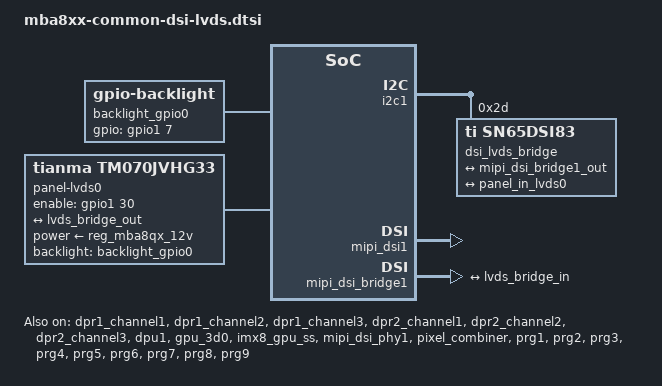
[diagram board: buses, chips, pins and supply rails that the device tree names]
/*
 * Copyright 2018 TQ Systems GmbH
 *
 * This program is free software; you can redistribute it and/or
 * modify it under the terms of the GNU General Public License
 * as published by the Free Software Foundation; either version 2
 * of the License, or (at your option) any later version.
 *
 * This program is distributed in the hope that it will be useful,
 * but WITHOUT ANY WARRANTY; without even the implied warranty of
 * MERCHANTABILITY or FITNESS FOR A PARTICULAR PURPOSE.  See the
 * GNU General Public License for more details.
 */

/ {
	backlight_lvds0: backlight-lvds0 {
		compatible = "pwm-backlight";
		pinctrl-names = "default";
		pinctrl-0 = <&pinctrl_pwmbl>;
		/* TODO: not enable yet */
		pwms = <&pwm_mipi_lvds0 0 5000000>;
		brightness-levels = <0 4 8 16 32 64 128 255>;
		default-brightness-level = <7>;
		power-supply = <&reg_mba8qx_12v>;
		status = "disabled";
	};

	/* TODO: use pwm backlight as soon as drivers are available */
	backlight_gpio0: backlight-gpio0 {
		compatible = "gpio-backlight";
		pinctrl-names = "default";
		pinctrl-0 = <&pinctrl_gpiobl>;
		gpios = <&gpio1 7 GPIO_ACTIVE_HIGH>;
		default-on;
		status = "okay";
	};

	panel-lvds0 {
		compatible = "tianma,tm070jvhg33", "tianma,tm070jdhg30";
		pinctrl-names = "default";
		pinctrl-0 = <&pinctrl_lbdpanel>;
/*		backlight = <&backlight_lvds0>; */
		backlight = <&backlight_gpio0>;
		power-supply = <&reg_mba8qx_12v>;
		enable-gpios = <&gpio1 30 0>;
		status = "okay";

		port {
			panel_in_lvds0: endpoint {
				remote-endpoint = <&lvds_bridge_out>;
			};
		};
	};
};

&dpr1_channel1 {
	status = "okay";
};

&dpr1_channel2 {
	status = "okay";
};

&dpr1_channel3 {
	status = "okay";
};

&dpr2_channel1 {
	status = "okay";
};

&dpr2_channel2 {
	status = "okay";
};

&dpr2_channel3 {
	status = "okay";
};

&dpu1 {
	status = "okay";
};

&gpu_3d0 {
	status = "okay";
};

&i2c1 {
	sn65dsi86ip_bridge: sn65dsi86ip@2c {
		compatible = "ti,sn65dsi86";
		reg = <0x2c>;
		#address-cells = <1>;
		#size-cells = <0>;
		status = "disabled";
	};

	dsi_lvds_bridge: sn65dsi84@2d {
		compatible = "ti,sn65dsi83";
		reg = <0x2d>;
		ti,dsi-lanes = <4>;
		ti,lvds-format = <1>;
		ti,lvds-bpp = <24>;
		ti,width-mm = <151>;
		ti,height-mm = <95>;
		/* TODO: */
		/* enable-gpios = <&expander2 2 GPIO_ACTIVE_HIGH>; */
		/* enable-gpios = <&gpio1 11 GPIO_ACTIVE_HIGH>; */
		/* pinctrl-names = "default"; */
		/* pinctrl-0 = <&pinctrl_lvds>; */
		status = "okay";

		ports {
			#address-cells = <1>;
			#size-cells = <0>;

			port@0 {
				reg = <0>;

				lvds_bridge_in: endpoint {
					remote-endpoint = <&mipi_dsi_bridge1_out>;
				};
			};

			port@1 {
				reg = <1>;

				lvds_bridge_out: endpoint {
					remote-endpoint = <&panel_in_lvds0>;
				};
			};
		};
	};
};

&imx8_gpu_ss {
	status = "okay";
};

&iomuxc {
	tqma8qx-mba8qx {

		pinctrl_gpiobl: gpioblgrp {
			fsl,pins = <
				/* TODO: LCD_CONTRAST -> DSI PMW */
				SC_P_SPI0_CS1_LSIO_GPIO1_IO07		0x06000021
			>;
		};

		pinctrl_lbdpanel: lbdpanelgrp {
			fsl,pins = <
				/* TODO: LCD_BLT_EN -> DSI_GPIO */
				SC_P_MIPI_DSI1_I2C0_SDA_LSIO_GPIO1_IO30	0x06000021
			>;
		};

		pinctrl_pwmbl: pwmblgrp {
			fsl,pins = <
				/* TODO: LCD_CONTRAST -> DSI PMW */
				SC_P_SPI0_CS1_ADMA_LCD_PWM0_OUT		0x06000021
			>;
		};
	};
};

&ldb1_phy {
	status = "disabled";
};

&ldb1 {
	status = "disabled";
};

&mipi_dsi_phy1 {
	status = "okay";
};

&mipi_dsi1 {
	pwr-delay = <10>;
	status = "okay";
};

&mipi_dsi_bridge1 {
	status = "okay";

	port@1 {
		mipi_dsi_bridge1_out: endpoint {
			remote-endpoint = <&lvds_bridge_in>;
		};
	};
};

&pixel_combiner {
	status = "okay";
};

&prg1 {
	status = "okay";
};

&prg2 {
	status = "okay";
};

&prg3 {
	status = "okay";
};

&prg4 {
	status = "okay";
};

&prg5 {
	status = "okay";
};

&prg6 {
	status = "okay";
};

&prg7 {
	status = "okay";
};

&prg8 {
	status = "okay";
};

&prg9 {
	status = "okay";
};
